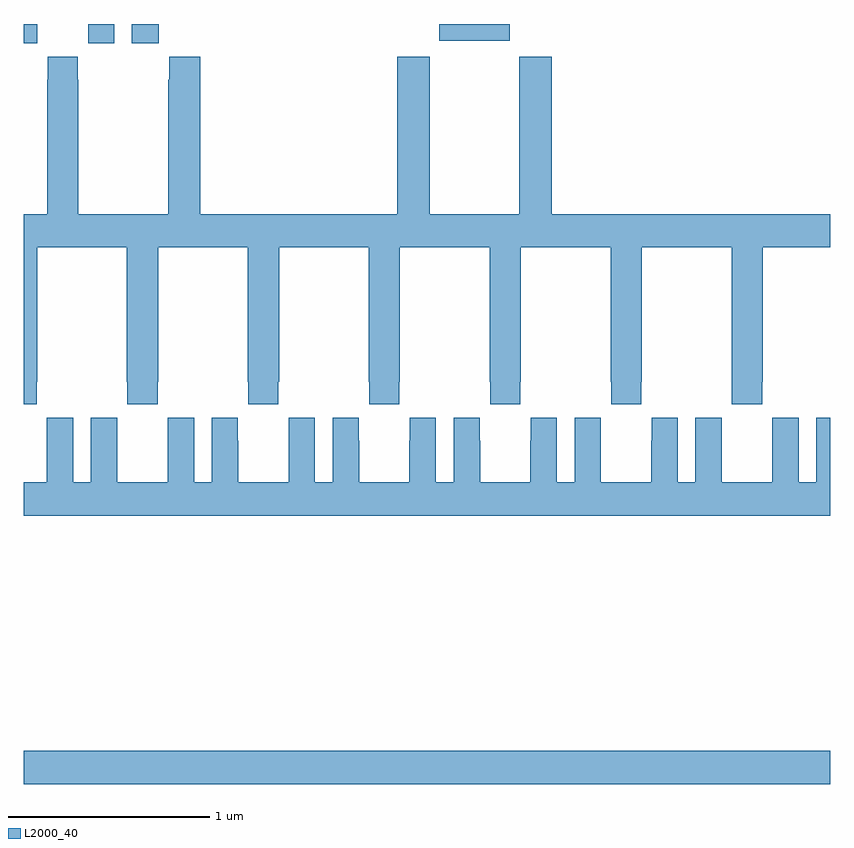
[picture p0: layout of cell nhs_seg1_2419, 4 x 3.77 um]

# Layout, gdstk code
import gdstk
lib = gdstk.Library(unit=1e-6, precision=1e-09)
def R(c, l, rs):  # rectangles x0, y0, x1, y1
    for r in rs: c.add(gdstk.rectangle(r[:2], r[2:], *l))
def P(c, l, *ps):  # polygons
    for p in ps: c.add(gdstk.Polygon(p, *l))
L2000_40 = (2000, 40)

nhs_seg1_2419 = lib.new_cell('nhs_seg1_2419')
R(nhs_seg1_2419, L2000_40, [(243,522.428,247,522.592), (243,526.104,243.066,526.199), (243.318,526.104,243.448,526.199), (243.536,526.104,243.67,526.199), (245.06,526.115,245.41,526.199)])
P(nhs_seg1_2419, L2000_40, [(243.063,524.425),(243.066,524.425),(243.066,525.092),(243.511,525.092),(243.511,524.425),(243.513,524.425),(243.513,524.313),(243.663,524.313),(243.663,524.425),(243.666,524.425),(243.666,525.092),(244.111,525.092),(244.111,524.425),(244.113,524.425),(244.113,524.313),(244.263,524.313),(244.263,524.425),(244.266,524.425),(244.266,525.092),(244.711,525.092),(244.711,524.425),(244.713,524.425),(244.713,524.313),(244.863,524.313),(244.863,524.425),(244.866,524.425),(244.866,525.092),(245.311,525.092),(245.311,524.425),(245.313,524.425),(245.313,524.313),(245.463,524.313),(245.463,524.425),(245.466,524.425),(245.466,525.092),(245.911,525.092),(245.911,524.425),(245.913,524.425),(245.913,524.313),(246.063,524.313),(246.063,524.425),(246.066,524.425),(246.066,525.092),(246.511,525.092),(246.511,524.425),(246.513,524.425),(246.513,524.313),(246.663,524.313),(246.663,524.425),(246.666,524.425),(246.666,525.092),(247,525.092),(247,525.256),(245.618,525.256),(245.618,526.036),(245.458,526.036),(245.458,525.256),(245.013,525.256),(245.013,526.036),(244.853,526.036),(244.853,525.256),(243.875,525.256),(243.875,526.036),(243.721,526.036),(243.721,525.923),(243.715,525.923),(243.715,525.256),(243.27,525.256),(243.27,525.923),(243.267,525.923),(243.267,526.036),(243.117,526.036),(243.117,525.923),(243.115,525.923),(243.115,525.256),(243,525.256),(243,524.313),(243.063,524.313)],
  [(247,524.245),(246.932,524.245),(246.932,523.924),(246.844,523.924),(246.844,524.245),(246.714,524.245),(246.714,524.132),(246.713,524.132),(246.713,523.924),(246.463,523.924),(246.463,524.132),(246.462,524.132),(246.462,524.245),(246.332,524.245),(246.332,523.924),(246.244,523.924),(246.244,524.245),(246.114,524.245),(246.114,524.132),(246.113,524.132),(246.113,523.924),(245.863,523.924),(245.863,524.132),(245.862,524.132),(245.862,524.245),(245.732,524.245),(245.732,523.924),(245.644,523.924),(245.644,524.245),(245.514,524.245),(245.514,524.132),(245.513,524.132),(245.513,523.924),(245.263,523.924),(245.263,524.132),(245.262,524.132),(245.262,524.245),(245.132,524.245),(245.132,523.924),(245.044,523.924),(245.044,524.245),(244.914,524.245),(244.914,524.132),(244.913,524.132),(244.913,523.924),(244.663,523.924),(244.663,524.132),(244.662,524.132),(244.662,524.245),(244.532,524.245),(244.532,523.924),(244.444,523.924),(244.444,524.245),(244.314,524.245),(244.314,524.132),(244.313,524.132),(244.313,523.924),(244.063,523.924),(244.063,524.132),(244.062,524.132),(244.062,524.245),(243.932,524.245),(243.932,523.924),(243.844,523.924),(243.844,524.245),(243.714,524.245),(243.714,524.132),(243.713,524.132),(243.713,523.924),(243.463,523.924),(243.463,524.132),(243.462,524.132),(243.462,524.245),(243.332,524.245),(243.332,523.924),(243.244,523.924),(243.244,524.245),(243.114,524.245),(243.114,524.132),(243.113,524.132),(243.113,523.924),(243,523.924),(243,523.76),(247,523.76)])

lib.write_gds('nhs_seg1_2419.gds')
